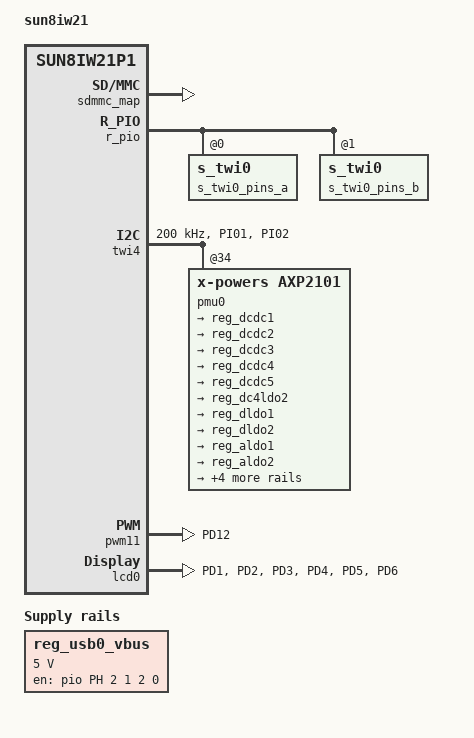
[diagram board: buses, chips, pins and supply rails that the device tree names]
/*
 * Allwinner Technology CO., Ltd. sun8iw19p1 soc board.
 *
 * soc board support.
 */

/{
	model = "sun8iw21";
	compatible = "YuzukiHD,Yuzukilizard", "allwinner,v851", "arm,sun8iw21p1";

	reg_usb0_vbus: usb0-vbus {
		compatible = "regulator-fixed";
		gpio = <&pio PH 2 1 2 0 1>;
		regulator-name = "usb0-vbus";
		regulator-min-microvolt = <5000000>;
		regulator-max-microvolt = <5000000>;
		enable-active-high;
	};

	box_start_os0 {
		compatible = "allwinner,box_start_os";
		start_type = <0x1>;
		irkey_used = <0x0>;
		pmukey_used = <0x0>;
		pmukey_num = <0x0>;
		led_power = <0x0>;
		led_state = <0x0>;
		pinctrl-0 = <&standby_blue>;
		pinctrl-1 = <&standby_red>;
	};
	gpu: gpu@1800000 {
			gpu_idle = <1>;
			dvfs_status = <1>;
			operating-points = <
				 /* KHz   uV */
				600000 950000
				576000 950000
				540000 950000
				504000 950000
				456000 950000
				420000 950000
				384000 950000
				360000 950000
				336000 950000
				306000 950000
			 >;
	};
};

&power_sply {
	dcdc1_vol = <1003300>;
	dcdc2_vol = <1000900>;
	dcdc5_vol = <1200>;
	aldo1_vol = <1001800>;
	aldo2_vol = <1001800>;
	aldo3_vol = <1003300>;
	aldo4_vol = <1003300>;
	bldo1_vol = <1001800>;
	bldo2_vol = <1002800>;
	dldo1_vol = <1003300>;
	dldo2_vol = <1001200>;
};

&sunxi_flashmap {
    /* Unit: Sector */
	sdmmc_map {
		logic_offset = <40960>;
		boot_param_start = <24504>;
		boot_param_size = <1>;
		uboot_start = <32800>;
		uboot_size = <4096>;
		uboot_bak_start = <24576>;
		uboot_bak_size = <4096>;
		secure_storage_start = <12288>;
		secure_storage_size = <512>;
		tuning_data_start = <24512>;
		tuning_data_size = <60>;
		status = "okay";
	};

	nor_map {
		logic_offset = <2016>;
		secure_logic_offset = <2200>;
		rtos_logic_offset = <2016>;
		rtos_secure_logic_offset = <2200>;
		boot_param_start = <120>;
		boot_param_size = <8>;
		uboot_start = <128>;
		uboot_size = <1888>;
		status = "okay";
	};
};

&aliases {
	disp = &disp;
	lcd0=&lcd0;
	spi0 = &spi0;
	twi4=&twi4;
	pwm = &pwm;
	pwm0 = &pwm0;
	pwm1 = &pwm1;
	pwm2 = &pwm2;
	pwm3 = &pwm3;
	pwm4 = &pwm4;
	pwm5 = &pwm5;
	pwm6 = &pwm6;
	pwm7 = &pwm7;
	pwm8 = &pwm8;
	pwm9 = &pwm9;
	pwm10 = &pwm10;
	pwm11 = &pwm11;
};

&platform {
	eraseflag = <1>;
	debug_mode = <4>;
};

&target {
	boot_clock = <900>;    /*CPU boot frequency, Unit: MHz*/
	burn_key = <0>;
};

&r_pio{

	s_twi0_pins_a: s_twi0@0 {
		allwinner,pins = "PL0", "PL1";
		allwinner,pname = "s_twi0_scl", "s_twi0_sda";
		allwinner,function = "s_twi0";
		allwinner,muxsel = <3>;
		allwinner,drive = <1>;
		allwinner,pull = <1>;
	};

	s_twi0_pins_b: s_twi0@1 {
		allwinner,pins = "PL0", "PL1";
		allwinner,function = "io_disabled";
		allwinner,muxsel = <7>;
		allwinner,drive = <1>;
		allwinner,pull = <0>;
	};
};


&pio{
	spi0_pins_a: spi0@0 {
		allwinner,pins = "PC0", "PC2", "PC3";
		allwinner,pname = "spi0_sclk", "spi0_mosi", "spi0_miso";
		allwinner,function = "spi0";
		allwinner,muxsel = <4>;
		allwinner,drive = <1>;
		allwinner,pull = <0>;
	};

	spi0_pins_b: spi0@1 {
		allwinner,pins = "PC1", "PC5", "PC4";
		allwinner,pname = "spi0_cs0", "spi0_hold", "spi0_wp";
		allwinner,function = "spi0";
		allwinner,muxsel = <4>;
		allwinner,drive = <1>;
		allwinner,pull = <1>;   // only CS should be pulled up
	};

	spi0_pins_c: spi0@2 {
		allwinner,pins = "PC0", "PC1", "PC2", "PC3", "PC4", "PC5";
		allwinner,function = "io_disabled";
		allwinner,muxsel = <7>;
		allwinner,drive = <1>;
		allwinner,pull = <0>;
	};

	spi1_pins_a: spi1@0 {
		allwinner,pins = "PH6", "PH7", "PH8";
		allwinner,pname = "spi1_sclk", "spi1_mosi", "spi1_miso";
		allwinner,function = "spi1";
	};

	spi1_pins_b: spi1@1 {
		allwinner,pins = "PH5", "PH9";
		allwinner,pname = "spi1_cs0", "spi1_cs1";
		allwinner,function = "spi1";
	};

	spi1_pins_c: spi1@2 {
		allwinner,pins = "PH5", "PH6", "PH7", "PH8", "PH9";
		allwinner,function = "io_disabled";
	};

	twi0_pins_a: twi0@0 {
		allwinner,pins = "PA0", "PA1";
		allwinner,pname = "twi0_scl", "twi0_sda";
		allwinner,function = "twi0";
		allwinner,muxsel = <4>;
		allwinner,drive = <1>;
		allwinner,pull = <0>;
	};

	twi0_pins_b: twi0@1 {
		allwinner,pins = "PA0", "PA1";
		allwinner,function = "io_disabled";
		allwinner,muxsel = <7>;
		allwinner,drive = <1>;
		allwinner,pull = <0>;
	};

	twi1_pins_a: twi1@0 {
		allwinner,pins = "PA2", "PA3";
		allwinner,pname = "twi1_scl", "twi1_sda";
		allwinner,function = "twi1";
		allwinner,muxsel = <4>;
		allwinner,drive = <1>;
		allwinner,pull = <0>;
	};

	twi1_pins_b: twi1@1 {
		allwinner,pins = "PA2", "PA3";
		allwinner,function = "io_disabled";
		allwinner,muxsel = <7>;
		allwinner,drive = <1>;
		allwinner,pull = <0>;
	};

	twi2_pins_a: twi2@0 {
		allwinner,pins = "PE20", "PE21";
		allwinner,pname = "twi2_scl", "twi2_sda";
		allwinner,function = "twi2";
		allwinner,muxsel = <5>;
		allwinner,drive = <1>;
		allwinner,pull = <0>;
	};

	twi2_pins_b: twi2@1 {
		allwinner,pins = "PE20", "PE21";
		allwinner,function = "io_disabled";
		allwinner,muxsel = <7>;
		allwinner,drive = <1>;
		allwinner,pull = <0>;
	};

	twi3_pins_a: twi3@0 {
		allwinner,pins = "PA10", "PA11";
		allwinner,pname = "twi3_scl", "twi3_sda";
		allwinner,function = "twi3";
		allwinner,muxsel = <2>;
		allwinner,drive = <1>;
		allwinner,pull = <1>;
	};

	twi3_pins_b: twi3@1 {
		allwinner,pins = "PA10", "PA11";
		allwinner,function = "io_disabled";
		allwinner,muxsel = <7>;
		allwinner,drive = <1>;
		allwinner,pull = <0>;
	};

	twi4_pins_a: twi4@0 {
		allwinner,pins = "PI01", "PI02";
		allwinner,pname = "twi4_scl", "twi4_sda";
		allwinner,function = "twi4";
		allwinner,muxsel = <6>;
		allwinner,drive = <1>;
		allwinner,pull = <1>;
	};

	twi4_pins_b: twi4@1 {
		allwinner,pins = "PI01", "PI02";
		allwinner,function = "io_disabled";
		allwinner,muxsel = <0>;
		allwinner,drive = <1>;
		allwinner,pull = <1>;
	};
	sdc0_pins_a: sdc0@0 {
		allwinner,pins = "PF0", "PF1", "PF2",
				 "PF3", "PF4", "PF5";
		allwinner,function = "sdc0";
		allwinner,muxsel = <2>;
		allwinner,drive = <3>;
		allwinner,pull = <1>;
	};
	sdc1_pins_a: sdc1@0 {
		allwinner,pins = "PG0", "PG1", "PG2",
				 "PG3", "PG4", "PG5";
		allwinner,function = "sdc1";
		allwinner,muxsel = <2>;
		allwinner,drive = <3>;
		allwinner,pull = <1>;
	};
	sdc2_pins_a: sdc2@0 {
		allwinner,pins = "PC0", "PC1", "PC2",
				 "PC3", "PC4", "PC5", "PC6",
				 "PC7", "PC8", "PC9", "PC11";
		allwinner,function = "sdc2";
		allwinner,muxsel = <3>;
		allwinner,drive = <2>;
		allwinner,pull = <1>;
	};
	sdc2_pins_b: sdc2@1 {
		allwinner,pins = "PC0", "PC1", "PC2",
				 "PC3", "PC4", "PC5", "PC6",
				 "PC7", "PC8", "PC9", "PC10", "PC11";
		allwinner,function = "io_disabled";
		allwinner,muxsel = <7>;
		allwinner,drive = <1>;
		allwinner,pull = <1>;
	};
	sdc2_pins_c: sdc2@2 {
		allwinner,pins = "PC10";
		allwinner,function = "sdc2";
		allwinner,muxsel = <3>;
		allwinner,drive = <2>;
		allwinner,pull = <2>;
	};

	pwm11_pin_a: pwm11@0 {
		pins = "PD12";
		function = "pwm11";
		drive-strength = <10>;
		bias-pull-up;
	};

	pwm11_pin_b: pwm11@1 {
		pins = "PD12";
		function = "gpio_in";
	};

	standby_red: standby@0 {
		allwinner,pins = "PH6";
		allwinner,function = "gpio_out";
		allwinner,muxsel = <1>;
		allwinner,data = <1>;
		allwinner,drive = <0>;
		allwinner,pull = <0>;
	};
	standby_blue: standby@1 {
		allwinner,pins = "PH7";
		allwinner,function = "gpio_out";
		allwinner,muxsel = <1>;
		allwinner,data = <0>;
		allwinner,drive = <2>;
		allwinner,pull = <2>;
	};
};

&twi4 {
	clock-frequency = <200000>;
	pinctrl-0 = <&twi4_pins_a>;
	pinctrl-1 = <&twi4_pins_b>;
	no_suspend = <1>;
	twi_drv_used = <1>;
	status = "okay";
	pmu0: pmu@34 {
		compatible = "x-powers,axp2101";
		status = "okay";
		/* interrupts = <0 IRQ_TYPE_LEVEL_LOW>;
		 * interrupt-parent = <&gic>; */
		x-powers,drive-vbus-en;

		wakeup-source;

		regulator0: regulators@0 {
			reg_dcdc1: dcdc1 {
				regulator-name = "axp2101-dcdc1";
			};
			reg_dcdc2: dcdc2 {
				regulator-name = "axp2101-dcdc2";
			};
			reg_dcdc3: dcdc3 {
				regulator-name = "axp2101-dcdc3";
			};
			reg_dcdc4: dcdc4 {
				regulator-name = "axp2101-dcdc4";
			};
			reg_dcdc5: dcdc5 {
				regulator-name = "axp2101-dcdc5";
			};
			reg_dc4ldo2:dc4ldo2 {
				regulator-name = "axp2101-dc4ldo2";
	    		};
			reg_dldo1: dldo1 {
				regulator-name = "axp2101-dldo1";
			};
			reg_dldo2: dldo2 {
				regulator-name = "axp2101-dldo2";
			};
			reg_aldo1: aldo1 {
				regulator-name = "axp2101-aldo1";
			};
			reg_aldo2: aldo2 {
				regulator-name = "axp2101-aldo2";
			};
			reg_aldo3: aldo3 {
				regulator-name = "axp2101-aldo3";
			};
			reg_aldo4: aldo4 {
				regulator-name = "axp2101-aldo4";
			};
			reg_bldo1: bldo1 {
				regulator-name = "axp2101-bldo1";
			};
			reg_bldo2: bldo2 {
				regulator-name = "axp2101-bldo2";
			};
		};
	};
};

&pwm11 {
	pinctrl-names = "active", "sleep";
	pinctrl-0 = <&pwm11_pin_a>;
	pinctrl-1 = <&pwm11_pin_b>;
	status = "okay";
};

&spi0 {
	clock-frequency = <100000000>;
	pinctrl-0 = <&spi0_pins_a &spi0_pins_b>;
	pinctrl-1 = <&spi0_pins_c>;
	pinctrl-names = "default", "sleep";
	spi_slave_mode = <0>;
	spi_dbi_enable = <0>;
	spi0_cs_number = <1>;
	status = "disabled";

	spi_board0 {
		device_type = "spi_board0";
		compatible = "spi-nor";
		spi-max-frequency = <100000000>;
		m25p,fast-read = <1>;
		/*individual_lock;*/
		reg = <0x0>;
		spi-rx-bus-width=<0x04>;
		spi-tx-bus-width=<0x04>;
		status="disabled";
	};

	spi-nand@0 {
		compatible = "spi-nand";
		spi-max-frequency=<0x05F5E100>;
		reg = <0x0>;
		spi-rx-bus-width=<0x01>;
		spi-tx-bus-width=<0x01>;
		status="disabled";
	};
};

&card_boot {
	sprite_gpio0 = <0x54 0x7 0x6 0x1 0xffffffff 0xffffffff 0x1>;
};

&card0_boot_para {  /* Avoid dtc compiling warnings. @TODO: Developer should modify this to the actual value */
	/* reg = <0x0 0x2 0x0 0x0>;  [> Avoid dtc compiling warnings. @TODO: Developer should modify this to the actual value <] */
	device_type = "card0_boot_para";
	card_ctrl = <0x0>;
	card_high_speed = <0x1>;
	card_line = <0x4>;
	pinctrl-0 = <&sdc0_pins_a>;
};

&card2_boot_para {  /* Avoid dtc compiling warnings. @TODO: Developer should modify this to the actual value */
	/* reg = <0x0 0x3 0x0 0x0>;  [> Avoid dtc compiling warnings. @TODO: Developer should modify this to the actual value <] */
	device_type = "card2_boot_para";
	card_ctrl = <0x2>;
	card_high_speed = <0x1>;
	card_line = <0x8>;
	pinctrl-0 = <&sdc2_pins_a &sdc2_pins_c>;
	sdc_ex_dly_used = <0x2>;
	sdc_io_1v8 = <0x0>;
};

&nand0 {
	compatible = "allwinner,sun50iw9-nand";
	device_type = "nand0";
	//reg = <0x0 0x04011000 0x0 0x1000>;/* nand0 */
	pinctrl-names = "default", "sleep";
	pinctrl-0 = <&nand0_pins_a &nand0_pins_b>;
	pinctrl-1 = <&nand0_pins_c>;
	nand0_regulator1 = "vcc-nand";
	nand0_regulator2 = "none";
	nand0_cache_level = <0x55aaaa55>;
	nand0_flush_cache_num = <0x55aaaa55>;
	nand0_capacity_level = <0x55aaaa55>;
	nand0_id_number_ctl = <0x55aaaa55>;
	nand0_print_level = <0x55aaaa55>;
	nand0_p0 = <0x55aaaa55>;
	nand0_p1 = <0x55aaaa55>;
	nand0_p2 = <0x55aaaa55>;
	nand0_p3 = <0x55aaaa55>;
	chip_code = "sun50iw9";
	status = "disabled";
};

&pio{
	rgb24_pins_a: rgb24@0 {
		allwinner,pins = "PD0", "PD1", "PD2", "PD3", "PD4", "PD5", "PD6", "PD7", "PD8", "PD9", \
		"PD10", "PD11", "PD12", "PD13", "PD14", "PD15", "PD16", "PD17", "PD18", "PD19", \
		"PD20", "PD21", "PD22", "PD23", "PD24", "PD25", "PD26", "PD27";
		allwinner,pname = "PD0", "PD1", "PD2", "PD3", "PD4", "PD5", "PD6", "PD7", "PD8", "PD9", \
		"PD10", "PD11", "PD12", "PD13", "PD14", "PD15", "PD16", "PD17", "PD18", "PD19", \
		"PD20", "PD21", "PD22", "PD23", "PD24", "PD25", "PD26", "PD27";
		allwinner,function = "rgb24";
		allwinner,muxsel = <2>;
		allwinner,drive = <3>;
		allwinner,pull = <0>;
	};

	rgb24_pins_b: rgb24@1 {
		allwinner,pins = "PD0", "PD1", "PD2", "PD3", "PD4", "PD5", "PD6", "PD7", "PD8", "PD9", \
		"PD10", "PD11", "PD12", "PD13", "PD14", "PD15", "PD16", "PD17", "PD18", "PD19", \
		"PD20", "PD21", "PD22", "PD23", "PD24", "PD25", "PD26", "PD27";
		allwinner,pname = "PD0", "PD1", "PD2", "PD3", "PD4", "PD5", "PD6", "PD7", "PD8", "PD9", \
		"PD10", "PD11", "PD12", "PD13", "PD14", "PD15", "PD16", "PD17", "PD18", "PD19", \
		"PD20", "PD21", "PD22", "PD23", "PD24", "PD25", "PD26", "PD27";
		allwinner,function = "rgb24_suspend";
		allwinner,muxsel = <7>;
		allwinner,drive = <3>;
		allwinner,pull = <0>;
	};

	dsi2lane_pins_a: dsi2lane@0 {
		allwinner,pins = "PD1", "PD2", "PD3", "PD4", "PD5", "PD6";
		allwinner,pname = "PD1", "PD2", "PD3", "PD4", "PD5", "PD6";
		allwinner,function = "dsi";
		allwinner,muxsel = <5>;
		allwinner,drive = <3>;
		allwinner,pull = <0>;
	};

	dsi2lane_pins_b: dsi2lane@1 {
		allwinner,pins = "PD1", "PD2", "PD3", "PD4", "PD5", "PD6";
		allwinner,pname = "PD1", "PD2", "PD3", "PD4", "PD5", "PD6";
		allwinner,function = "io_disabled";
		allwinner,muxsel = <0xf>;
		allwinner,drive = <1>;
		allwinner,pull = <0>;
	};
};

&disp {
	disp_init_enable         = <1>;
	disp_mode                = <0>;

	screen0_output_type      = <1>;
	screen0_output_mode      = <4>;

	screen1_output_type      = <3>;
	screen1_output_mode      = <10>;

	screen1_output_format    = <0>;
	screen1_output_bits      = <0>;
	screen1_output_eotf      = <4>;
	screen1_output_cs        = <257>;
	screen1_output_range     = <2>;
	screen1_output_scan      = <0>;
	screen1_output_aspect_ratio = <8>;

	dev0_output_type         = <1>;
	dev0_output_mode         = <4>;
	dev0_screen_id           = <0>;
	dev0_do_hpd              = <0>;

	dev1_output_type         = <4>;
	dev1_output_mode         = <10>;
	dev1_screen_id           = <1>;
	dev1_do_hpd              = <1>;

	def_output_dev           = <0>;

	fb0_format               = <0>;
	fb0_width                = <0>;
	fb0_height               = <0>;

	fb1_format               = <0>;
	fb1_width                = <0>;
	fb1_height               = <0>;
	chn_cfg_mode             = <1>;

	disp_para_zone           = <1>;
};

/*----------------------------------------------------------------------------------
;lcd0 configuration

;lcd_if:               0:hv(sync+de); 1:8080; 2:ttl; 3:lvds; 4:dsi; 5:edp; 6:extend dsi
;lcd_hv_if             0:Parallel RGB; 8:Serial RGB; 10:Dummy RGB; 11: RGB Dummy;12:CCIR656
;lcd_hv_clk_phase      0:0 degree;1:90 degree;2:180 degree;3:270 degree
;lcd_hv_sync_polarity  0:vs low,hs low; 1:vs high,hslow; 2:vs low,hs high; 3:vs high,hs high
;lcd_hv_syuv_seq       0:YUYV; 1:YVYU; 2:UYVY; 3:VYUY
;lcd_cpu_if            0:18bit/1 cycle parallel(RGB666); 4:16bit/1cycle parallel (RGB565)
;                      6:18bit/3 cycle parallel(RGB666); 7:16bit/2cycle parallel (RGB565)
;lcd_cpu_te            0:frame auto trigger; 1:frame triggered by te rising edge; 2:frame triggered by te falling edge;
;lcd_dsi_if            0:video mode; 1: Command mode; 2:video burst mode
;lcd_dsi_te            0:frame auto trigger; 1:frame triggered by te rising edge; 2:frame triggered by te falling edge;
;lcd_x:                lcd horizontal resolution
;lcd_y:                lcd vertical resolution
;lcd_width:            width of lcd in mm
;lcd_height:           height of lcd in mm
;lcd_dclk_freq:        in MHZ unit
;lcd_pwm_freq:         in HZ unit
;lcd_pwm_pol:          lcd backlight PWM polarity
;lcd_pwm_max_limit     lcd backlight PWM max limit(<=255)
;lcd_hbp:              hsync back porch(pixel) + hsync plus width(pixel);
;lcd_ht:               hsync total cycle(pixel)
;lcd_vbp:              vsync back porch(line) + vysnc plus width(line)
;lcd_vt:               vysnc total cycle(line)
;lcd_hspw:             hsync plus width(pixel)
;lcd_vspw:             vysnc plus width(pixel)
;lcd_lvds_if:          0:single link;  1:dual link
;lcd_lvds_colordepth:  0:8bit; 1:6bit
;lcd_lvds_mode:        0:NS mode; 1:JEIDA mode
;lcd_frm:              0:disable; 1:enable rgb666 dither; 2:enable rgb656 dither
;lcd_io_phase:         0:noraml; 1:intert phase(0~3bit: vsync phase; 4~7bit:hsync phase;
;                      8~11bit:dclk phase; 12~15bit:de phase)
;lcd_gamma_en          lcd gamma correction enable
;lcd_bright_curve_en   lcd bright curve correction enable
;lcd_cmap_en           lcd color map function enable
;deu_mode              0:smoll lcd screen; 1:large lcd screen(larger than 10inch)
;lcdgamma4iep:         Smart Backlight parameter, lcd gamma vale * 10;
;                      decrease it while lcd is not bright enough; increase while lcd is too bright
;smart_color           90:normal lcd screen 65:retina lcd screen(9.7inch)
;Pin setting for special function ie.LVDS, RGB data or vsync
;   name(donot care) = port:PD12<pin function><pull up or pull down><drive ability><output level>
;Pin setting for gpio:
;   lcd_gpio_X     = port:PD12<pin function><pull up or pull down><drive ability><output level>
;Pin setting for backlight enable pin
;   lcd_bl_en     = port:PD12<pin function><pull up or pull down><drive ability><output level>
;fsync setting, pulse to csi
;lcd_fsync_en          (0:disable fsync,1:enable)
;lcd_fsync_act_time    (active time of fsync, unit:pixel)
;lcd_fsync_dis_time    (disactive time of fsync, unit:pixel)
;lcd_fsync_pol         (0:positive;1:negative)
;gpio config: <&pio for cpu or &r_pio for cpus, port, port num, pio function,
pull up or pull down(default 0), driver level(default 1), data>
;For dual link lvds: use lvds2link_pins_a  and lvds2link_pins_b instead
;For rgb24: use rgb24_pins_a  and rgb24_pins_b instead
;For lvds1: use lvds1_pins_a  and lvds1_pins_b instead
;For lvds0: use lvds0_pins_a  and lvds0_pins_b instead
;----------------------------------------------------------------------------------*/
&lcd0 {
	base_config_start   = <1>;
	lcd_used            = <1>;

	lcd_driver_name     = "d310t9362v1";

	lcd_bl_0_percent    = <0>;
	lcd_bl_40_percent   = <23>;
	lcd_bl_100_percent  = <100>;
	lcd_backlight       = <150>;

	lcd_if              = <4>;
	lcd_x               = <480>;
	lcd_y               = <800>;
	lcd_width           = <40>;
	lcd_height          = <67>;
	lcd_dclk_freq       = <34>;

	lcd_pwm_used        = <1>;
	lcd_pwm_ch          = <6>;
	lcd_pwm_freq        = <50000>;
	lcd_pwm_pol         = <1>;
	lcd_pwm_max_limit   = <255>;

	lcd_hbp             = <120>;
	lcd_ht              = <624>;
	lcd_hspw            = <48>;
	lcd_vbp             = <28>;
	lcd_vt              = <908>;
	lcd_vspw            = <12>;

	lcd_dsi_if          = <0>;
	lcd_dsi_lane        = <2>;
	lcd_dsi_format      = <0>;
	lcd_dsi_te          = <0>;
	lcd_dsi_eotp        = <0>;

	lcd_frm             = <0>;
	lcd_io_phase        = <0x0000>;
	lcd_hv_clk_phase    = <0>;
	lcd_hv_sync_polarity= <0>;
	lcd_gamma_en        = <0>;
	lcd_bright_curve_en = <0>;
	lcd_cmap_en         = <0>;

	deu_mode            = <0>;
	lcdgamma4iep        = <22>;
	smart_color         = <90>;

	lcd_gpio_0          = <&pio PD 8 1 0 3 1>;
	pinctrl-0           = <&dsi2lane_pins_a>;
	pinctrl-1           = <&dsi2lane_pins_b>;

	base_config_end     = <1>;
};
